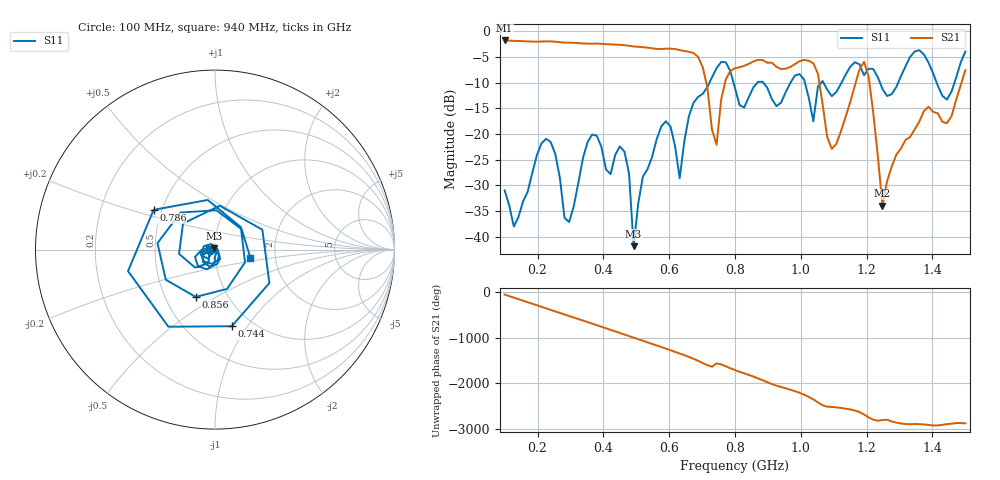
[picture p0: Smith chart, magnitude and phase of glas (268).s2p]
! NanoVNA-App
! Date: 2025-09-25 15:57:33
! Start: 100MHz Stop: 1,5GHz Points: 101
! S-Parameter data: F S11 S21 S12 S22
# Hz S RI R 50
!  Frequency  S11_Real  S11_Imag  S21_Real  S21_Imag  S12_Real  S12_Imag  S22_Real  S22_Imag
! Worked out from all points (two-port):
!   101 points, 100 MHz to 1.5 GHz, reference 50 ohm
!   highest |S21| = -1.80 dB at 100 MHz (marker M1); lowest = -33.9 dB at 1.248 GHz (marker M2)
!   |S21| within 3 dB of the highest: start of sweep to 684.2 MHz
!   lowest |S11| = -41.8 dB at 492 MHz (marker M3), VSWR 1.02, Z = 49.5 + j0.611 ohm
!   |S11| at or under -10 dB: start of sweep to 722.4 MHz; 795.4 MHz to 868.1 MHz (72.68 MHz wide, 8.74 % of centre); 886 MHz to 968.7 MHz (82.63 MHz wide, 8.91 % of centre) (the widest 3 of 7)
!   S12 and S22 are empty: the file has one direction only
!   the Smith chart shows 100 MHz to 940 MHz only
!   S11 on the Smith chart (normalised r, x): 100 MHz: 0.95, -0.01; 744 MHz: 0.81, -0.85; 786 MHz: 0.45, +0.24; 856 MHz: 0.71, -0.41; 940 MHz: 1.48, -0.14
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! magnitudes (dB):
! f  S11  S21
! 100 MHz  -30.9  -1.8
! 128 MHz  -38.0  -1.9
! 226 MHz  -20.9  -2.0
! 296 MHz  -37.1  -2.2
! 338 MHz  -24.7  -2.4
! 464 MHz  -23.4  -2.7
! 492 MHz  -41.8  -3.0
! 576 MHz  -18.5  -3.5
! 632 MHz  -28.6  -3.7
! 702 MHz  -12.2  -7.0
! 744 MHz  -7.2  -22.1
! 786 MHz  -7.8  -7.7
! 800 MHz  -11.1  -7.2
! 856 MHz  -10.9  -5.9
! 940 MHz  -13.9  -7.4
! 996 MHz  -8.3  -5.8
! 1.038 GHz  -17.5  -6.2
! 1.094 GHz  -12.6  -22.9
! 1.192 GHz  -8.6  -5.9
! 1.248 GHz  -11.2  -33.9
! 1.276 GHz  -12.2  -26.4
! 1.5 GHz  -4.0  -7.6
